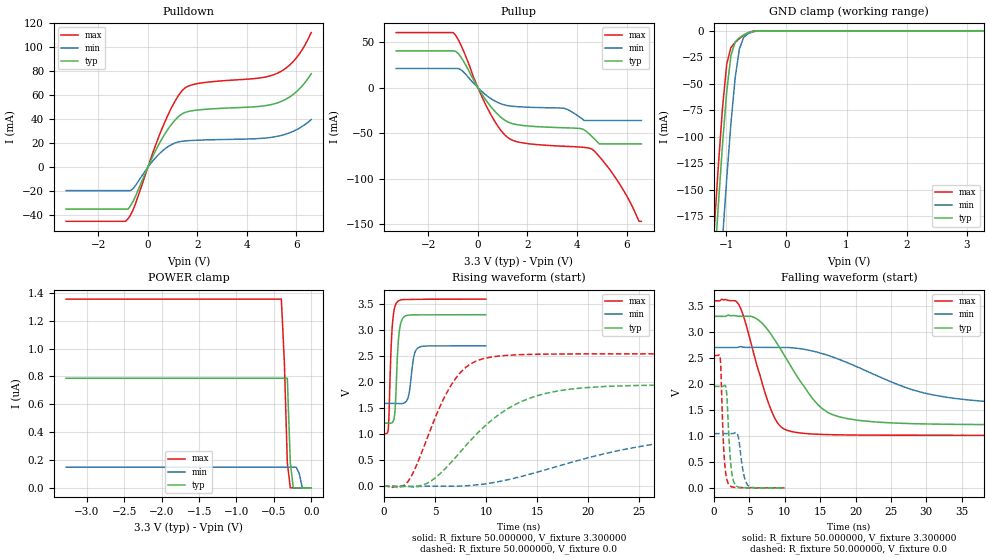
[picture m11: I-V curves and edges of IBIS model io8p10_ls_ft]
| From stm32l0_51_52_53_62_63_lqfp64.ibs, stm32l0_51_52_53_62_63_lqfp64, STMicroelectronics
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|   Model io8p10_ls_ft
[Model]  io8p10_ls_ft
Model_type I/O
Polarity   Non-Inverting
Enable   Active-Low
Vinl =   0.990000V
Vinh =   2.310000V
Vmeas =  1.650000V
Cref =   50.000000pF
Rref =   100.000000M
Vref =   0.0V
C_comp   4.606100pF   4.563500pF   4.706200pF
[Temperature Range]   25.000000   0.125000k   -40.000000
[Pullup Reference]   3.300000V   2.700000V   3.600000V
[Pulldown Reference]   0.0V   0.0V   0.0V
[POWER Clamp Reference]   3.300000V   2.700000V   3.600000V
[GND Clamp Reference]   0.0V   0.0V   0.0V
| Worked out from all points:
|   slope of the pulldown table from 0 to 0.495 V, typ, clamps not added: 23.6 ohm
|   slope of the pullup table from 0 to 0.495 V, typ, clamps not added: 24.9 ohm
|   GND clamp passes 1 mA (typ) near -0.59 V on its own axis
|   rising waveform, R_fixture 50.000000, V_fixture 3.300000: 20-80 % time 317ps typ, 426ps min, 300ps max; typ from 1.21 V to 3.3 V
|   rising waveform, R_fixture 50.000000, V_fixture 0.0: 20-80 % time 6.52ns typ, 13.6ns min, 3.48ns max; typ from 0 V to 1.95 V
|   falling waveform, R_fixture 50.000000, V_fixture 3.300000: 20-80 % time 6.07ns typ, 12.5ns min, 3.34ns max; typ from 3.3 V to 1.21 V
|   falling waveform, R_fixture 50.000000, V_fixture 0.0: 20-80 % time 521ps typ, 684ps min, 459ps max; typ from 1.95 V to 0 V
[Pulldown]
|Voltage   I(typ)   I(min)   I(max)
-3.3V     -34.78mA   -19.34mA   -44.89mA
-900mV    -34.78mA   -19.34mA   -44.89mA
-800mV    -34.78mA   -19.34mA   -42.84mA
-600mV    -28.56mA   -17.8mA    -35.75mA
100mV     4.638mA    2.744mA    6.076mA
600mV     24.8mA     13.84mA    33.52mA
1V        36.93mA    19.39mA    51.35mA
1.4V      44.67mA    21.76mA    64.17mA
2V        47.71mA    22.58mA    69.7mA
5.2V      53.44mA    25.71mA    78.05mA
6V        62.9mA     31.28mA    91.14mA
6.6V      77.96mA    39.76mA    112.2mA
[Pullup]
|Voltage   I(typ)   I(min)   I(max)
-3.3V     40.49mA    21.18mA    60.57mA
-1V       40.49mA    21.18mA    60.57mA
-700mV    34.22mA    19.98mA    47.65mA
400mV     -16.48mA   -9.566mA   -23.24mA
1.1V      -35.89mA   -19.06mA   -52.22mA
1.7V      -41.02mA   -20.95mA   -60.01mA
3.5V      -43.95mA   -22.7mA    -64.24mA
4.2V      -45.08mA   -33.97mA   -65.24mA
4.6V      -53.38mA   -35.99mA   -67.23mA
4.9V      -61.64mA   -35.99mA   -75.5mA
6.5V      -61.64mA   -35.99mA   -146.6mA
6.6V      -61.64mA   -35.99mA   -146.6mA
[GND_clamp]
|Voltage   I(typ)   I(min)   I(max)
-3.3V     -2.276A    -2.356A    -2.25A
-1.2V     -226mA     -318.7mA   -189.2mA
-1.13V    -164.9mA   -256.6mA   -128.3mA
-1.06V    -107.5mA   -196.5mA   -72.78mA
-990mV    -57.32mA   -139.4mA   -31.39mA
-920mV    -23.22mA   -87.32mA   -15.73mA
-850mV    -10.58mA   -44.45mA   -10.94mA
-780mV    -6.539mA   -17.25mA   -7.356mA
-710mV    -3.933mA   -6.349mA   -4.308mA
-640mV    -1.955mA   -2.79mA    -1.975mA
-360mV    -2.06uA    -16.21uA   -459.5nA
3.28V     0A         0A         0A
[POWER_clamp]
|Voltage   I(typ)   I(min)   I(max)
-3.28V    786.7nA    148nA      1.355uA
-400mV    786.7nA    148nA      1.355uA
-360mV    786.7nA    148nA      908.2nA
-320mV    786.7nA    148nA      180.5nA
-280mV    182.6nA    148nA      0A
-240mV    0A         148nA      0A
-200mV    0A         148nA      0A
-160mV    0A         101.6nA    0A
-120mV    0A         0A         0A
0V        0A         0A         0A
[Ramp]
| variable   typ   min   max
dV/dt_r  1.17105/6.49928n   0.61883/13.51716n   1.52766/3.47752n
dV/dt_f  1.25130/6.06589n   0.64062/12.41457n   1.55292/3.33245n
R_load = 50.000000
[Rising Waveform]
R_fixture= 50.000000
V_fixture= 3.300000
V_fixture_min= 2.700000
V_fixture_max= 3.600000
|time   V(typ)   V(min)   V(max)
0s        1.214V     1.593V     1.012V
440.4ps   1.212V     1.593V     1.141V
740.7ps   1.216V     1.593V     2.83V
1.001ns   1.312V     1.593V     3.392V
1.121ns   1.58V      1.593V     3.482V
1.281ns   2.338V     1.591V     3.541V
1.542ns   3.03V      1.589V     3.577V
2.062ns   3.271V     1.609V     3.591V
3.303ns   3.297V     2.656V     3.595V
9.97ns    3.3V       2.7V       3.599V
[Rising Waveform]
R_fixture= 50.000000
V_fixture= 0.0
V_fixture_min= 0.0
V_fixture_max= 0.0
|time   V(typ)   V(min)   V(max)
0s        172.6uV    66.63uV    964.9uV
2.402ns   -2.749mV   -5.253mV   102.4mV
4.304ns   63.99mV    -1.095mV   956.8mV
6.507ns   441.8mV    -339.5uV   1.919V
8.008ns   776.7mV    6.189mV    2.284V
9.61ns    1.106V     35.47mV    2.447V
13.71ns   1.649V     200.3mV    2.532V
18.32ns   1.868V     456.3mV    2.544V
31.43ns   1.949V     922.1mV    2.546V
49.85ns   1.952V     1.044V     2.546V
[Falling Waveform]
R_fixture= 50.000000
V_fixture= 3.300000
V_fixture_min= 2.700000
V_fixture_max= 3.600000
|time   V(typ)   V(min)   V(max)
0s        3.3V       2.7V       3.599V
3.504ns   3.302V     2.709V     3.522V
5.706ns   3.275V     2.703V     2.533V
7.808ns   3V         2.702V     1.589V
9.009ns   2.754V     2.701V     1.241V
10.21ns   2.486V     2.7V       1.113V
14.41ns   1.64V      2.617V     1.033V
17.72ns   1.365V     2.469V     1.02V
30.63ns   1.228V     1.797V     1.012V
49.85ns   1.214V     1.593V     1.012V
[Falling Waveform]
R_fixture= 50.000000
V_fixture= 0.0
V_fixture_min= 0.0
V_fixture_max= 0.0
|time   V(typ)   V(min)   V(max)
0s        1.952V     1.044V     2.546V
860.9ps   1.952V     1.044V     2.507V
1.421ns   1.963V     1.044V     615.5mV
1.742ns   1.869V     1.044V     205.8mV
2.042ns   1.119V     1.044V     76.06mV
2.482ns   309.4mV    1.044V     21.43mV
3.103ns   43.19mV    1.064V     7.06mV
4.204ns   3.234mV    250.4mV    4.392mV
4.765ns   2.042mV    51.65mV    3.074mV
9.97ns    172.6uV    66.63uV    964.9uV
